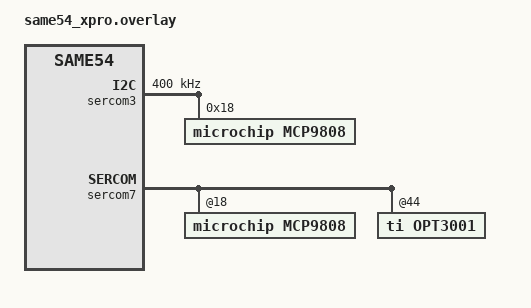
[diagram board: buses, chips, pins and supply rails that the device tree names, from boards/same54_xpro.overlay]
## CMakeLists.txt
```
# Minimum CMake version
cmake_minimum_required(VERSION 3.20.0)

# Add additional modules
set(ZEPHYR_EXTRA_MODULES "${CMAKE_SOURCE_DIR}/../../modules/mcp9808")
#set(ZEPHYR_EXTRA_MODULES "${CMAKE_SOURCE_DIR}/../drivers/sensor/ti/opt3001")

# Locate the Zephyr RTOS source
find_package(Zephyr REQUIRED HINTS $ENV{ZEPHYR_BASE})

# Name the project
project(temp_ambient)

# Locate the source code for the application
target_sources(app PRIVATE src/main.c)
```

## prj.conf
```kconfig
CONFIG_GPIO=y
CONFIG_SENSOR=y
CONFIG_I2C=y
CONFIG_MCP9808=y
CONFIG_OPT3001=y
CONFIG_LOG=n
CONFIG_LOG_DEFAULT_LEVEL=4
```

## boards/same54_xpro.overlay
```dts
/*
 * SPDX-License-Identifier: Apache-2.0
 *
 * Copyright (c) 2021 Gerson Fernando Budke <nandojve@gmail.com>
 */

/ {
    aliases {
        my-mcp9808-1 = &mcp9808_18_sercom3;
        my-mcp9808-2 = &mcp9808_18_sercom7;
        my-opt3001-1 = &opt3001_44_sercom7;
        i2c-1 = &sercom3;
    };
};

&pinctrl {
	sercom3_i2c_default: sercom3_i2c_default {
		group1 {
			pinmux = <PA22C_SERCOM3_PAD0>,
				 <PA23C_SERCOM3_PAD1>;
		};
	};
};

&sercom3 {
	status = "okay";
	compatible = "atmel,sam0-i2c";
	clock-frequency = <I2C_BITRATE_FAST>;
	#address-cells = <1>;
	#size-cells = <0>;

	pinctrl-0 = <&sercom3_i2c_default>;
	pinctrl-names = "default";

	// Label: name of our device node
    mcp9808_18_sercom3: mcp9808@18 {
        compatible = "microchip,mcp9808"; 					// Specify device bindings/driver
        reg = <0x18>; 										// I2C address of the MCP9808
        label = "MCP9808";
        status = "okay"; 									// Enable the MCP9808 sensor
        resolution = <3>; 									// Set the resolution
    };
};

&sercom7 {
	status = "okay";

    mcp9808_18_sercom7: mcp9808@18 {
        compatible = "microchip,mcp9808"; 					// Specify device bindings/driver
        reg = <0x18>; 										// I2C address of the MCP9808
        label = "MCP9808";
        status = "okay"; 									// Enable the MCP9808 sensor
        resolution = <3>; 									// Set the resolution
    };    

    opt3001_44_sercom7: opt3001@44 {
        compatible = "ti,opt3001"; 					        // Specify device bindings/driver
        reg = <0x44>; 										// I2C address of the OPT3001
        label = "OPT3001";
        status = "okay"; 									// Enable the OPT3001 sensor
    };      
};
```

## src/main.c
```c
#include <zephyr/kernel.h>
#include <zephyr/device.h>
#include <zephyr/drivers/sensor.h>
#include <stdio.h>

int main(void)
{
	const struct device *const mcp9808_1 = DEVICE_DT_GET(DT_ALIAS(my_mcp9808_1));
	const struct device *const mcp9808_2 = DEVICE_DT_GET(DT_ALIAS(my_mcp9808_2));
	const struct device *const opt3001_1 = DEVICE_DT_GET(DT_ALIAS(my_opt3001_1));
	int ret;

    // Check if the MCP9808 has been initialized (init function called)
	if (!device_is_ready(mcp9808_1)) {
		printf("Device %s is not ready.\n", mcp9808_1->name);
		return 0;
	}
    if (!device_is_ready(mcp9808_2)) {
		printf("Device %s is not ready.\n", mcp9808_2->name);
		return 0;
	}
    if (!device_is_ready(opt3001_1)) {
		printf("Device %s is not ready.\n", opt3001_1->name);
		return 0;
	}

    while (1) 
    {
        struct sensor_value tmp1;
        struct sensor_value tmp2;
        struct sensor_value amb1;

        // Fetch the temperature value from the sensor into the device's data structure
        ret = sensor_sample_fetch(mcp9808_1);
        ret |= sensor_sample_fetch(mcp9808_2);
        ret |= sensor_sample_fetch(opt3001_1);
        if (ret != 0) {
            printf("Sample fetch error: %d\n", ret);
            return 0;
        }
                
        // Copy the temperature value from the device's data structure into the tmp struct
        ret = sensor_channel_get(mcp9808_1, SENSOR_CHAN_AMBIENT_TEMP, &tmp1);
        ret |= sensor_channel_get(mcp9808_2, SENSOR_CHAN_AMBIENT_TEMP, &tmp2);
        ret |= sensor_channel_get(opt3001_1, SENSOR_CHAN_LIGHT, &amb1);
        if (ret != 0) {
            printf("Channel get error: %d\n", ret);
            return 0;
        }

        // Print the temperature value
        printf("Temp Zone1: %d.%02d *C\tTemp Zone2: %d.%02d *C\t Ambient Light: %d.%02d lux\n", \
            tmp1.val1, tmp1.val2/10000, tmp2.val1, tmp2.val2/10000, amb1.val1, amb1.val2/10000);
        k_sleep(K_SECONDS(2));
    }
    return 0;
}
```
